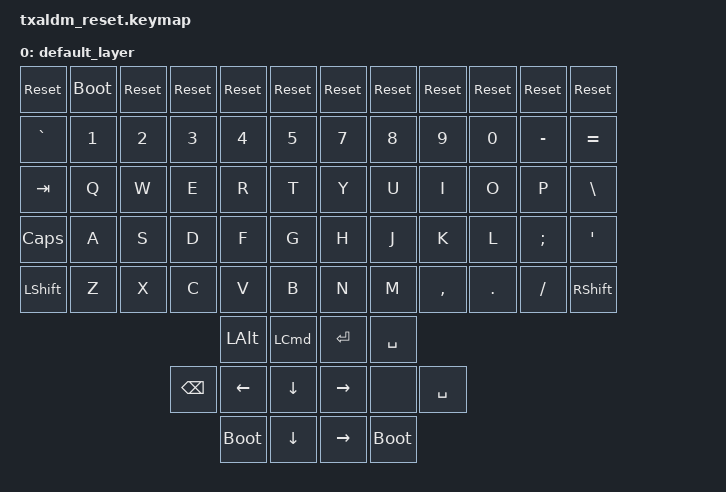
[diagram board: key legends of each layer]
/*
 * Copyright (c) 2020 The ZMK Contributors
 *
 * SPDX-License-Identifier: MIT
 */

#include <behaviors.dtsi>
#include <dt-bindings/zmk/keys.h>
#include <dt-bindings/zmk/bt.h>

/* &lt {*/
    /*     tapping-term-ms = <175>; */
/* }; */

/ { 

    keymap {
        compatible = "zmk,keymap";

        default_layer {
            bindings = <
            &sys_reset    &bootloader    &sys_reset    &sys_reset    &sys_reset         &sys_reset       &sys_reset      &sys_reset      &sys_reset    &sys_reset    &sys_reset      &sys_reset
            &kp GRAVE  &kp N1    &kp N2    &kp N3    &kp N4         &kp N5       &kp N7      &kp N8      &kp N9     &kp N0     &kp MINUS   &kp EQUAL
            &kp TAB    &kp Q     &kp W     &kp E     &kp R          &kp T        &kp Y       &kp U       &kp I      &kp O      &kp P       &kp BSLH
            &kp CAPS   &kp A     &kp S     &kp D     &kp F          &kp G        &kp H       &kp J       &kp K      &kp L      &kp SEMI    &kp APOS
            &kp LSHFT  &kp Z     &kp X     &kp C     &kp V          &kp B        &kp N       &kp M       &kp COMMA  &kp DOT    &kp SLASH   &kp RSHIFT
            &kp LALT  &kp LCMD                                                      &kp ENTER   &kp SPACE
            &kp BSPC  &kp LEFT       &kp DOWN     &kp RIGHT   &none       &kp SPACE
            &bootloader    &kp DOWN     &kp RIGHT   &bootloader
            >;
        };

        // Numbers and punctuations each on separate row
        // num_punc_layer {
            //     bindings = <
            //         &kp EXCL      &kp AT  &kp HASH  &kp DLLR     &kp PRCNT        &kp CARET        &kp AMPS     &kp STAR  &kp LPAR  &kp RPAR
            //         &lp LCTRL N1  &kp N2  &kp N3    &ht LGUI N4  &kp N5           &kp N6           &ht LGUI N7  &kp N8    &kp N9    &ht LCTRL N0
            //         &kp LSFT      &none   &none     &none        &none            &none            &none        &trans    &trans    &trans
            //                                         &mo 4        &trans           &thm LALT SPACE  &trans
            //         >;
        // };

        // nav_sys_layer {
            //     bindings = <
            //         &ht LGUI F9   &kp F10  &kp F11  &kp F12  &kp PSCRN        &kp HOME    &kp PG_DN     &kp PG_UP     &kp END       &kp LGUI
            //         &lp LCTRL F5  &kp F6   &kp F7   &kp F8   &none            &kp LEFT    &kp DOWN      &kp UP        &kp RIGHT     &kp LCTRL
            //         &ht LSFT F1   &kp F2   &kp F3   &kp F4   &tog 3           &kp C_MUTE  &kp C_VOL_DN  &kp C_VOL_UP  &none         &kp LSFT
            //                                         &tog 2   &trans           &trans      &trans
            //         >;
        // };

        // nav_numpad_layer {
            //     bindings = <
            //         &none    &kp HOME  &kp UP    &kp PG_UP  &none            &kp FSLH  &kp N7  &kp N8  &kp N9  &kp MINUS
            //         &kp END  &kp LEFT  &kp DOWN  &kp RIGHT  &kp PG_DN        &kp STAR  &kp N4  &kp N5  &kp N6  &kp PLUS
            //         &none    &none     &none     &none      &tog 3           &kp N0    &kp N1  &kp N2  &kp N3  &kp DOT
            //                                      &mo 4      &trans           &kp BSPC  &none
            //         >;
        // };

        // adj_layer {
            //     bindings = <
            //         &none         &none         &none         &none         &bt BT_CLR          &none   &none   &none  &none  &none
            //         &bt BT_SEL 0  &bt BT_SEL 1  &bt BT_SEL 2  &bt BT_SEL 3  &bt BT_SEL 4        &none   &none   &none  &none  &none
            //         &none         &none         &none         &none         &none               &none   &none   &none  &none  &none
            //                                                   &mo 4         &bootloader         &none   &bootloader
            //         >;
        // };

    };

    // combos {
    //     compatible = "zmk,combos";

    //     // Punctuation
    //     combo_equal {
    //         timeout-ms = <50>;
    //         key-positions = <0 1>;
    //         layers = <0 1>;
    //         bindings = <&kp EQUAL>;
    //     };

    //     combo_plus {
    //         timeout-ms = <50>;
    //         key-positions = <1 12>;
    //         layers = <0 1>;
    //         bindings = <&kp PLUS>;
    //     };

    //     combo_minus {
    //         timeout-ms = <50>;
    //         key-positions = <8 9>;
    //         layers = <0 1>;
    //         bindings = <&kp MINUS>;
    //     };

    //     combo_under_score {
    //         timeout-ms = <50>;
    //         key-positions = <8 17>;
    //         layers = <0 1>;
    //         bindings = <&kp UNDER>;
    //     };

    //     combo_left_bracket {
    //         timeout-ms = <50>;
    //         key-positions = <2 13>;
    //         layers = <0>;
    //         bindings = <&kp LBKT>;
    //     };

    //     combo_left_brace {
    //         timeout-ms = <50>;
    //         key-positions = <3 14>;
    //         layers = <0>;
    //         bindings = <&kp LBRC>;
    //     };

    //     combo_right_brace {
    //         timeout-ms = <50>;
    //         key-positions = <6 15>;
    //         layers = <0>;
    //         bindings = <&kp RBRC>;
    //     };

    //     combo_right_bracket {
    //         timeout-ms = <50>;
    //         key-positions = <7 16>;
    //         layers = <0>;
    //         bindings = <&kp RBKT>;
    //     };

    //     combo_tilde {
    //         timeout-ms = <50>;
    //         key-positions = <20 21>;
    //         layers = <0>;
    //         bindings = <&kp TILDE>;
    //     };

    //     combo_tilde_alt {
    //         timeout-ms = <50>;
    //         key-positions = <21 23>;
    //         layers = <0>;
    //         bindings = <&kp TILDE>;
    //     };

    //     combo_grave {
    //         timeout-ms = <50>;
    //         key-positions = <21 22>;
    //         layers = <0>;
    //         bindings = <&kp GRAVE>;
    //     };

    //     combo_back_slash {
    //         timeout-ms = <50>;
    //         key-positions = <27 28>;
    //         layers = <0>;
    //         bindings = <&kp BSLH>;
    //     };

    //     combo_pipe {
    //         timeout-ms = <50>;
    //         key-positions = <28 29>;
    //         layers = <0>;
    //         bindings = <&kp PIPE>;
    //     };

    //     combo_pipe_alt {
    //         timeout-ms = <50>;
    //         key-positions = <26 28>;
    //         layers = <0>;
    //         bindings = <&kp PIPE>;
    //     };

    //     combo_single_quote {
    //         timeout-ms = <50>;
    //         key-positions = <7 8>;
    //         layers = <0>;
    //         bindings = <&kp SQT>;
    //     };

    //     combo_double_quote {
    //         timeout-ms = <50>;
    //         key-positions = <18 19>;
    //         layers = <0>;
    //         bindings = <&kp DQT>;
    //     };


    //     // Control
    //     combo_enter {
    //         timeout-ms = <50>;
    //         key-positions = <17 18>;
    //         layers = <0 1 3>;
    //         bindings = <&kp ENTER>;
    //     };

    //     combo_caps {
    //         timeout-ms = <50>;
    //         key-positions = <11 12>;
    //         layers = <0>;
    //         bindings = <&kp CAPS>;
    //     };

    //     combo_esc {
    //         timeout-ms = <50>;
    //         key-positions = <1 2>;
    //         layers = <0 1 2 3>;
    //         bindings = <&kp ESC>;
    //     };

    //     combo_esc_clear {
    //         timeout-ms = <50>;
    //         key-positions = <7 8>;
    //         layers = <3>;
    //         bindings = <&kp ESC>;
    //     };

    //     combo_del {
    //         timeout-ms = <50>;
    //         key-positions = <30 31>;
    //         layers = <0 1>;
    //         bindings = <&kp DEL>;
    //     };

    //     combo_L2 {
    //         timeout-ms = <50>;
    //         key-positions = <16 17 18>;
    //         layers = <0 2>;
    //         bindings = <&tog 2>;
    //     };

    //     combo_L3 {
    //         timeout-ms = <50>;
    //         /* key-positions = <11 12 13>; */
    //         key-positions = <25 26 27>;
    //         layers = <0 3>;
    //         bindings = <&tog 3>;
    //     };

    //     combo_bootloader_left {
    //         timeout-ms = <50>;
    //         key-positions = <1 2>;
    //         layers = <4>;
    //         bindings = <&bootloader>;
    //     };

    //     combo_bootloader_right {
    //         timeout-ms = <50>;
    //         key-positions = <7 8>;
    //         layers = <4>;
    //         bindings = <&bootloader>;
    //     };

    // };

};
